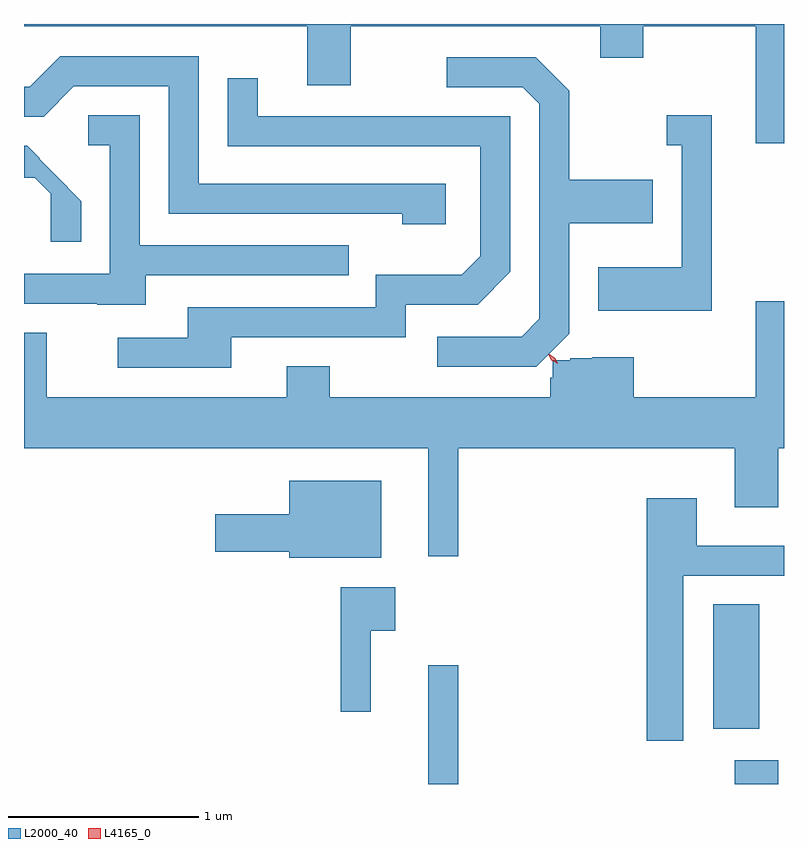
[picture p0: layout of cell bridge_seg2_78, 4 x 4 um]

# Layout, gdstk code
import gdstk
lib = gdstk.Library(unit=1e-6, precision=1e-09)
def R(c, l, rs):  # rectangles x0, y0, x1, y1
    for r in rs: c.add(gdstk.rectangle(r[:2], r[2:], *l))
def P(c, l, *ps):  # polygons
    for p in ps: c.add(gdstk.Polygon(p, *l))
L2000_40 = (2000, 40)
L4165_0 = (4165, 0)

bridge_seg2_78 = lib.new_cell('bridge_seg2_78')
R(bridge_seg2_78, L2000_40, [(1223.526,1044.329,1223.684,1044.953), (1225.141,1044.329,1225.369,1044.454), (1225.026,1044.621,1225.269,1045.274)])
P(bridge_seg2_78, L2000_40, [(1225.399,1048.329),(1221.399,1048.329),(1221.399,1048.316),(1222.891,1048.316),(1222.891,1048.006),(1223.119,1048.006),(1223.119,1048.316),(1224.431,1048.316),(1224.431,1048.151),(1224.659,1048.151),(1224.659,1048.316),(1225.251,1048.316),(1225.251,1047.701),(1225.399,1047.701)],
  [(1223.619,1047.489),(1222.319,1047.489),(1222.319,1048.159),(1221.589,1048.159),(1221.429,1047.999),(1221.399,1047.999),(1221.399,1047.841),(1221.502,1047.841),(1221.662,1048.001),(1222.161,1048.001),(1222.161,1047.331),(1223.391,1047.331),(1223.391,1047.276),(1223.619,1047.276)],
  [(1224.269,1046.699),(1224.269,1047.281),(1224.709,1047.281),(1224.709,1047.509),(1224.269,1047.509),(1224.269,1047.977),(1224.092,1048.154),(1223.623,1048.154),(1223.623,1047.996),(1224.024,1047.996),(1224.111,1047.909),(1224.111,1046.777),(1224.019,1046.684),(1223.573,1046.684),(1223.573,1046.526),(1224.096,1046.526)],
  [(1222.489,1046.681),(1223.409,1046.681),(1223.409,1046.851),(1223.787,1046.851),(1223.959,1047.024),(1223.959,1047.844),(1222.629,1047.844),(1222.629,1048.043),(1222.471,1048.043),(1222.471,1047.686),(1223.801,1047.686),(1223.801,1047.107),(1223.704,1047.009),(1223.251,1047.009),(1223.251,1046.839),(1222.261,1046.839),(1222.261,1046.679),(1221.893,1046.679),(1221.893,1046.521),(1222.489,1046.521)],
  [(1222.039,1047.006),(1223.108,1047.006),(1223.108,1047.164),(1222.009,1047.164),(1222.009,1047.849),(1221.738,1047.849),(1221.738,1047.691),(1221.851,1047.691),(1221.851,1047.014),(1221.399,1047.014),(1221.399,1046.856),(1221.785,1046.856),(1221.785,1046.851),(1222.039,1046.851)],
  [(1225.019,1047.849),(1224.783,1047.849),(1224.783,1047.691),(1224.861,1047.691),(1224.861,1047.049),(1224.421,1047.049),(1224.421,1046.821),(1225.019,1046.821)],
  [(1221.699,1047.395),(1221.628,1047.466),(1221.63,1047.469),(1221.479,1047.62),(1221.482,1047.623),(1221.416,1047.689),(1221.399,1047.689),(1221.399,1047.52),(1221.455,1047.52),(1221.539,1047.436),(1221.539,1047.183),(1221.699,1047.183)],
  [(1223.684,1046.096),(1225.141,1046.096),(1225.141,1045.786),(1225.369,1045.786),(1225.369,1046.096),(1225.399,1046.096),(1225.399,1046.869),(1225.251,1046.869),(1225.251,1046.364),(1224.609,1046.364),(1224.609,1046.576),(1224.389,1046.576),(1224.389,1046.57),(1224.273,1046.57),(1224.273,1046.56),(1224.183,1046.56),(1224.183,1046.466),(1224.169,1046.466),(1224.169,1046.364),(1223.009,1046.364),(1223.009,1046.529),(1222.781,1046.529),(1222.781,1046.364),(1221.519,1046.364),(1221.519,1046.704),(1221.399,1046.704),(1221.399,1046.096),(1223.526,1046.096),(1223.526,1045.527),(1223.684,1045.527)],
  [(1223.279,1045.924),(1222.796,1045.924),(1222.796,1045.749),(1222.406,1045.749),(1222.406,1045.551),(1222.796,1045.551),(1222.796,1045.521),(1223.279,1045.521)],
  [(1224.869,1045.426),(1225.399,1045.426),(1225.399,1045.584),(1224.939,1045.584),(1224.939,1045.834),(1224.676,1045.834),(1224.676,1044.556),(1224.869,1044.556)],
  [(1223.224,1045.136),(1223.354,1045.136),(1223.354,1045.364),(1223.066,1045.364),(1223.066,1044.708),(1223.224,1044.708)])
P(bridge_seg2_78, L4165_0, [(1224.208,1046.542),(1224.178,1046.559),(1224.162,1046.589),(1224.162,1046.59),(1224.163,1046.59),(1224.193,1046.573),(1224.209,1046.543),(1224.209,1046.542)],
  [(1224.202,1046.545),(1224.175,1046.559),(1224.161,1046.586),(1224.161,1046.586),(1224.162,1046.586),(1224.189,1046.573),(1224.202,1046.546),(1224.202,1046.545)])

lib.write_gds('bridge_seg2_78.gds')
